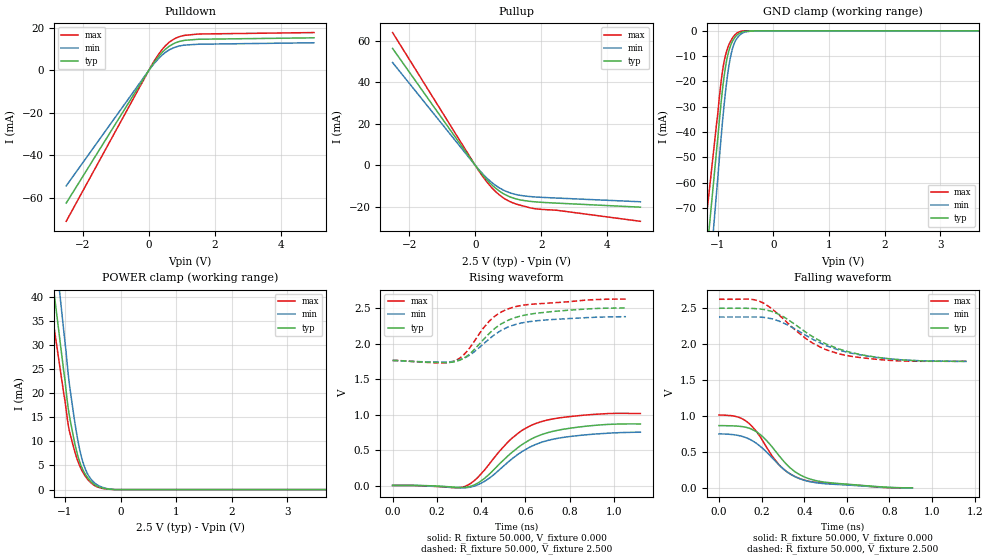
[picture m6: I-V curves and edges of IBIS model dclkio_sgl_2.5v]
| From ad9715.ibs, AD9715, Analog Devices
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[Model]   dclkio_sgl_2.5v
Model_type I/O
Vinl=7.500E-01
Vinh=1.750E+00
Vref=0.000E+00
Rref=1.000E+06
Cref=0.000E+00
Vmeas=1.250E+00
C_comp   6.290E-13   6.240E-13   6.330E-13
[Voltage Range]   2.500E+00   2.375E+00   2.625E+00
[POWER Clamp Reference]   2.500E+00   2.375E+00   2.625E+00
[GND Clamp Reference]   0.000E+00   0.000E+00   0.000E+00
[Pullup Reference]   2.500E+00   2.375E+00   2.625E+00
[Pulldown Reference]   0.000E+00   0.000E+00   0.000E+00
[Temperature Range]   25   85   -40
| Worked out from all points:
|   slope of the pulldown table from 0 to 0.375 V, typ, clamps not added: 47 ohm
|   slope of the pullup table from 0 to 0.375 V, typ, clamps not added: 51 ohm
|   GND clamp passes 1 mA (typ) near -0.61 V on its own axis
|   POWER clamp passes 1 mA (typ) near -0.46 V on its own axis
|   rising waveform, R_fixture 50.000, V_fixture 0.000: 20-80 % time 212ps typ, 209ps min, 194ps max; typ from 0.004 V to 0.867 V
|   falling waveform, R_fixture 50.000, V_fixture 0.000: 20-80 % time 174ps typ, 177ps min, 161ps max; typ from 0.866 V to 0 V
|   rising waveform, R_fixture 50.000, V_fixture 2.500: 20-80 % time 176ps typ, 173ps min, 149ps max; typ from 1.76 V to 2.5 V
|   falling waveform, R_fixture 50.000, V_fixture 2.500: 20-80 % time 272ps typ, 277ps min, 229ps max; typ from 2.5 V to 1.76 V
[GND Clamp]
-2.5V     -389.5mA   -454.4mA   -336mA
-1.02V    -47.17mA   -63.62mA   -36.58mA
-920mV    -24.32mA   -37.39mA   -16.78mA
-880mV    -17.19mA   -28.21mA   -11.56mA
-820mV    -9.636mA   -16.95mA   -6.706mA
-780mV    -6.502mA   -11.43mA   -4.586mA
-740mV    -4.346mA   -7.473mA   -3.016mA
-680mV    -2.251mA   -3.874mA   -1.349mA
-620mV    -1.105mA   -2.047mA   -471.2uA
-500mV    -172.2uA   -431.6uA   -5.744uA
-280mV    0A         0A         0A
5V        0A         0A         0A
[Power Clamp]
-2.5V     163mA      194.3mA    136.4mA
-2.46V    159.3mA    189.6mA    133.1mA
-1.02V    24.4mA     32.78mA    19.83mA
-960mV    18.54mA    26.13mA    14.88mA
-920mV    15.29mA    21.82mA    12.13mA
-820mV    9.42mA     13.78mA    7.759mA
-740mV    5.923mA    8.572mA    5.07mA
-680mV    4.175mA    5.787mA    3.632mA
-600mV    2.589mA    3.4mA      2.241mA
-420mV    692.2uA    984.5uA    559.3uA
-100mV    0A         0A         0A
5V        0A         0A         0A
[Pullup]
-2.5V     56.25mA    49.46mA    63.91mA
40mV      -867.3uA   -762.2uA   -998.1uA
400mV     -7.783mA   -6.854mA   -8.924mA
720mV     -12.29mA   -10.78mA   -14.11mA
900mV     -14.09mA   -12.31mA   -16.19mA
1.2V      -16.02mA   -13.95mA   -18.45mA
1.78V     -17.57mA   -15.21mA   -20.87mA
2.46V     -18.22mA   -15.78mA   -21.64mA
5V        -20.17mA   -17.57mA   -26.98mA
[Pulldown]
-2.5V     -62.58mA   -54.45mA   -71.16mA
140mV     3.325mA    2.846mA    3.856mA
420mV     8.739mA    7.436mA    10.17mA
620mV     11.43mA    9.697mA    13.31mA
780mV     12.82mA    10.85mA    14.93mA
960mV     13.78mA    11.62mA    16.07mA
1.48V     14.66mA    12.32mA    17.13mA
5V        15.36mA    13.03mA    17.84mA
[Rising Waveform]
R_fixture = 50.000
V_fixture = 0.000
V_fixture_min = 0.000
V_fixture_max = 0.000
|  time   V(typ)   V(min)   V(max)
0s        4.154mV    0V         0V
320ps     -26.76mV   -32.74mV   -19.1mV
372.5ps   13.41mV    -5.175mV   77.14mV
415ps     99.98mV    57.5mV     216.6mV
485ps     310.2mV    227.9mV    489.8mV
540ps     468.4mV    376.6mV    667.2mV
637.5ps   671.2mV    565.8mV    862mV
722.5ps   761.7mV    650.3mV    936.8mV
842.5ps   823.9mV    704.4mV    984.1mV
1.12ns    867.4mV    750.4mV    1.014V
[Falling Waveform]
R_fixture = 50.000
V_fixture = 0.000
V_fixture_min = 0.000
V_fixture_max = 0.000
|  time   V(typ)   V(min)   V(max)
0s        866.3mV    750.4mV    1.014V
92.5ps    857.9mV    728.1mV    982.4mV
135ps     836.6mV    688.7mV    911.4mV
170ps     791.2mV    631.1mV    805.9mV
222.5ps   661.1mV    501.1mV    568.9mV
280ps     454.8mV    324.5mV    326.5mV
335ps     275.6mV    191.3mV    191.9mV
377.5ps   185.5mV    129.2mV    130.3mV
505ps     76.46mV    56.18mV    63.86mV
907.5ps   0V         0V         0V
[Rising Waveform]
R_fixture = 50.000
V_fixture = 2.500
V_fixture_min = 2.380
V_fixture_max = 2.630
|  time   V(typ)   V(min)   V(max)
0s        1.761V     1.76V      1.762V
215ps     1.732V     1.737V     1.726V
285ps     1.747V     1.755V     1.761V
350ps     1.857V     1.84V      1.945V
410ps     2.053V     1.993V     2.216V
447.5ps   2.172V     2.092V     2.346V
492.5ps   2.279V     2.188V     2.446V
550ps     2.36V      2.263V     2.515V
735ps     2.454V     2.34V      2.575V
1.055ns   2.5V       2.378V     2.625V
[Falling Waveform]
R_fixture = 50.000
V_fixture = 2.500
V_fixture_min = 2.380
V_fixture_max = 2.630
|  time   V(typ)   V(min)   V(max)
0s        2.5V       2.378V     2.625V
142.5ps   2.499V     2.378V     2.626V
200ps     2.487V     2.375V     2.584V
282.5ps   2.413V     2.32V      2.404V
365ps     2.257V     2.198V     2.18V
435ps     2.113V     2.076V     2.023V
562.5ps   1.934V     1.919V     1.866V
657.5ps   1.859V     1.854V     1.816V
805ps     1.795V     1.795V     1.774V
1.163ns   1.761V     1.76V      1.762V
[Ramp]
dV/dt_r   5.1798E-01/2.1179E-10   4.4207E-01/2.0870E-10   6.1002E-01/1.9228E-10
dV/dt_f   4.4344E-01/2.7068E-10   3.7252E-01/2.7699E-10   5.1809E-01/2.2923E-10
R_load = 50
